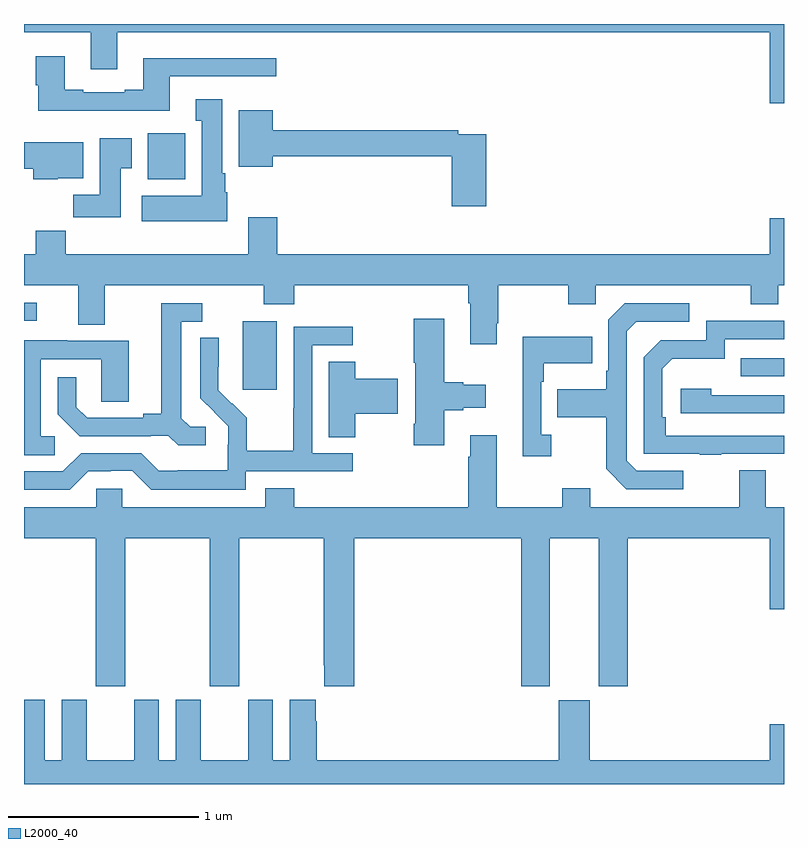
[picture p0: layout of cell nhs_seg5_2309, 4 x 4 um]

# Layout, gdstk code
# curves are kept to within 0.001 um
import gdstk
lib = gdstk.Library(unit=1e-6, precision=1e-09)
def R(c, l, rs):  # rectangles x0, y0, x1, y1
    for r in rs: c.add(gdstk.rectangle(r[:2], r[2:], *l))
def P(c, l, *ps):  # polygons
    for p in ps: c.add(gdstk.Polygon(p, *l))
L2000_40 = (2000, 40)

nhs_seg5_2309 = lib.new_cell('nhs_seg5_2309')
R(nhs_seg5_2309, L2000_40, [(246.152,858.873,246.331,859.234), (248.773,858.945,249,859.041), (245,859.236,245.068,859.332), (245.651,859.982,245.848,860.224)])
P(nhs_seg5_2309, L2000_40, [(249,860.799),(245,860.799),(245,860.756),(245.351,860.756),(245.351,860.562),(245.491,860.562),(245.491,860.756),(248.924,860.756),(248.924,860.382),(249,860.382)],
  [(245.767,860.523),(246.328,860.523),(246.328,860.62),(245.627,860.62),(245.627,860.452),(245.531,860.452),(245.531,860.439),(245.311,860.439),(245.311,860.452),(245.215,860.452),(245.215,860.629),(245.063,860.629),(245.063,860.476),(245.075,860.476),(245.075,860.342),(245.767,860.342)],
  [(246.07,859.914),(246.058,859.914),(246.058,860.014),(246.043,860.014),(246.043,860.404),(245.903,860.404),(245.903,860.291),(245.936,860.291),(245.936,859.894),(245.619,859.894),(245.619,859.76),(246.07,859.76)],
  [(247.433,860.22),(247.286,860.22),(247.286,860.24),(246.31,860.24),(246.31,860.344),(246.131,860.344),(246.131,860.048),(246.31,860.048),(246.31,860.104),(247.25,860.104),(247.25,859.839),(247.433,859.839)],
  [(245.509,860.041),(245.566,860.041),(245.566,860.197),(245.399,860.197),(245.399,859.9),(245.26,859.9),(245.26,859.782),(245.509,859.782)],
  [(245.178,859.988),(245.311,859.988),(245.311,860.176),(245,860.176),(245,860.036),(245.048,860.036),(245.048,859.982),(245.178,859.982)],
  [(247.489,859.225),(247.497,859.225),(247.497,859.424),(247.864,859.424),(247.864,859.325),(248.01,859.325),(248.01,859.424),(248.824,859.424),(248.824,859.325),(248.971,859.325),(248.971,859.424),(249,859.424),(249,859.777),(248.924,859.777),(248.924,859.588),(246.332,859.588),(246.332,859.783),(246.179,859.783),(246.179,859.588),(245.219,859.588),(245.219,859.712),(245.063,859.712),(245.063,859.588),(245,859.588),(245,859.424),(245.285,859.424),(245.285,859.216),(245.425,859.216),(245.425,859.424),(246.262,859.424),(246.262,859.325),(246.422,859.325),(246.422,859.424),(247.337,859.424),(247.337,859.328),(247.349,859.328),(247.349,859.113),(247.489,859.113)],
  [(248.47,858.447),(248.226,858.447),(248.172,858.501),(248.172,859.182),(248.223,859.233),(248.5,859.233),(248.5,859.329),(248.163,859.329),(248.076,859.242),(248.076,858.973),(248.064,858.973),(248.064,858.877),(247.807,858.877),(247.807,858.73),(248.064,858.73),(248.064,858.457),(248.169,858.351),(248.47,858.351)],
  [(245.956,858.678),(245.874,858.678),(245.827,858.725),(245.827,859.233),(245.938,859.233),(245.938,859.329),(245.723,859.329),(245.723,858.749),(245.627,858.749),(245.627,858.726),(245.332,858.726),(245.275,858.783),(245.275,858.94),(245.178,858.94),(245.178,858.746),(245.294,858.63),(245.666,858.63),(245.666,858.633),(245.76,858.633),(245.812,858.581),(245.956,858.581)],
  [(247.213,858.767),(247.313,858.767),(247.313,858.779),(247.429,858.779),(247.429,858.901),(247.313,858.901),(247.313,858.914),(247.213,858.914),(247.213,859.249),(247.051,859.249),(247.051,859.015),(247.058,859.015),(247.058,858.694),(247.051,858.694),(247.051,858.582),(247.213,858.582)],
  [(248.669,858.537),(249,858.537),(249,858.633),(248.378,858.633),(248.378,858.73),(248.358,858.73),(248.358,858.984),(248.411,859.037),(248.688,859.037),(248.688,859.14),(249,859.14),(249,859.236),(248.592,859.236),(248.592,859.134),(248.352,859.134),(248.262,859.044),(248.262,858.537),(248.557,858.537),(248.557,858.532),(248.669,858.532)],
  [(246.168,858.444),(246.73,858.444),(246.73,858.54),(246.516,858.54),(246.516,859.107),(246.73,859.107),(246.73,859.206),(246.42,859.206),(246.42,858.776),(246.418,858.776),(246.418,858.553),(246.173,858.553),(246.173,858.727),(246.096,858.804),(246.093,858.801),(246.023,858.872),(246.024,859.148),(245.928,859.148),(245.928,858.83),(246.074,858.682),(246.074,858.585),(246.072,858.585),(246.072,858.451),(245.809,858.451),(245.809,858.447),(245.709,858.447),(245.616,858.54),(245.301,858.54),(245.205,858.444),(245,858.444),(245,858.348),(245.241,858.348),(245.337,858.444),(245.456,858.444),(245.456,858.447),(245.571,858.447),(245.671,858.347),(246.168,858.347)],
  [(247.774,858.638),(247.722,858.638),(247.722,858.917),(247.735,858.917),(247.735,859.013),(247.991,859.013),(247.991,859.153),(247.625,859.153),(247.625,858.525),(247.774,858.525)],
  [(245.161,858.63),(245.088,858.63),(245.088,859.035),(245.406,859.035),(245.406,858.811),(245.551,858.811),(245.551,859.131),(245.227,859.131),(245.227,859.135),(245,859.135),(245,858.529),(245.161,858.529)],
  [(246.744,858.749),(246.967,858.749),(246.967,858.932),(246.744,858.932),(246.744,859.022),(246.605,859.022),(246.605,858.625),(246.744,858.625)],
  [(249,858.846),(248.618,858.846),(248.618,858.88),(248.457,858.88),(248.457,858.75),(249,858.75)],
  [(245.532,858.092),(245.977,858.092),(245.977,857.313),(246.132,857.313),(246.132,858.092),(246.577,858.092),(246.577,857.425),(246.581,857.425),(246.581,857.313),(246.737,857.313),(246.737,858.092),(247.616,858.092),(247.616,857.313),(247.768,857.313),(247.768,858.092),(248.024,858.092),(248.024,857.313),(248.177,857.313),(248.177,858.092),(248.924,858.092),(248.924,857.718),(249,857.718),(249,858.256),(248.905,858.256),(248.905,858.451),(248.765,858.451),(248.765,858.256),(247.981,858.256),(247.981,858.355),(247.834,858.355),(247.834,858.256),(247.489,858.256),(247.489,858.634),(247.349,858.634),(247.349,858.521),(247.337,858.521),(247.337,858.256),(246.422,858.256),(246.422,858.355),(246.269,858.355),(246.269,858.256),(245.517,858.256),(245.517,858.354),(245.379,858.354),(245.379,858.256),(245,858.256),(245,858.092),(245.377,858.092),(245.377,857.313),(245.532,857.313)],
  [(249,857.113),(248.924,857.113),(248.924,856.924),(247.978,856.924),(247.978,857.241),(247.814,857.241),(247.814,856.924),(246.542,856.924),(246.542,857.129),(246.535,857.129),(246.535,857.242),(246.398,857.242),(246.398,856.924),(246.31,856.924),(246.31,857.242),(246.179,857.242),(246.179,856.924),(245.929,856.924),(245.929,857.242),(245.798,857.242),(245.798,856.924),(245.71,856.924),(245.71,857.242),(245.579,857.242),(245.579,856.924),(245.329,856.924),(245.329,857.242),(245.198,857.242),(245.198,856.924),(245.11,856.924),(245.11,857.242),(245,857.242),(245,856.799),(249,856.799)])

lib.write_gds('nhs_seg5_2309.gds')
